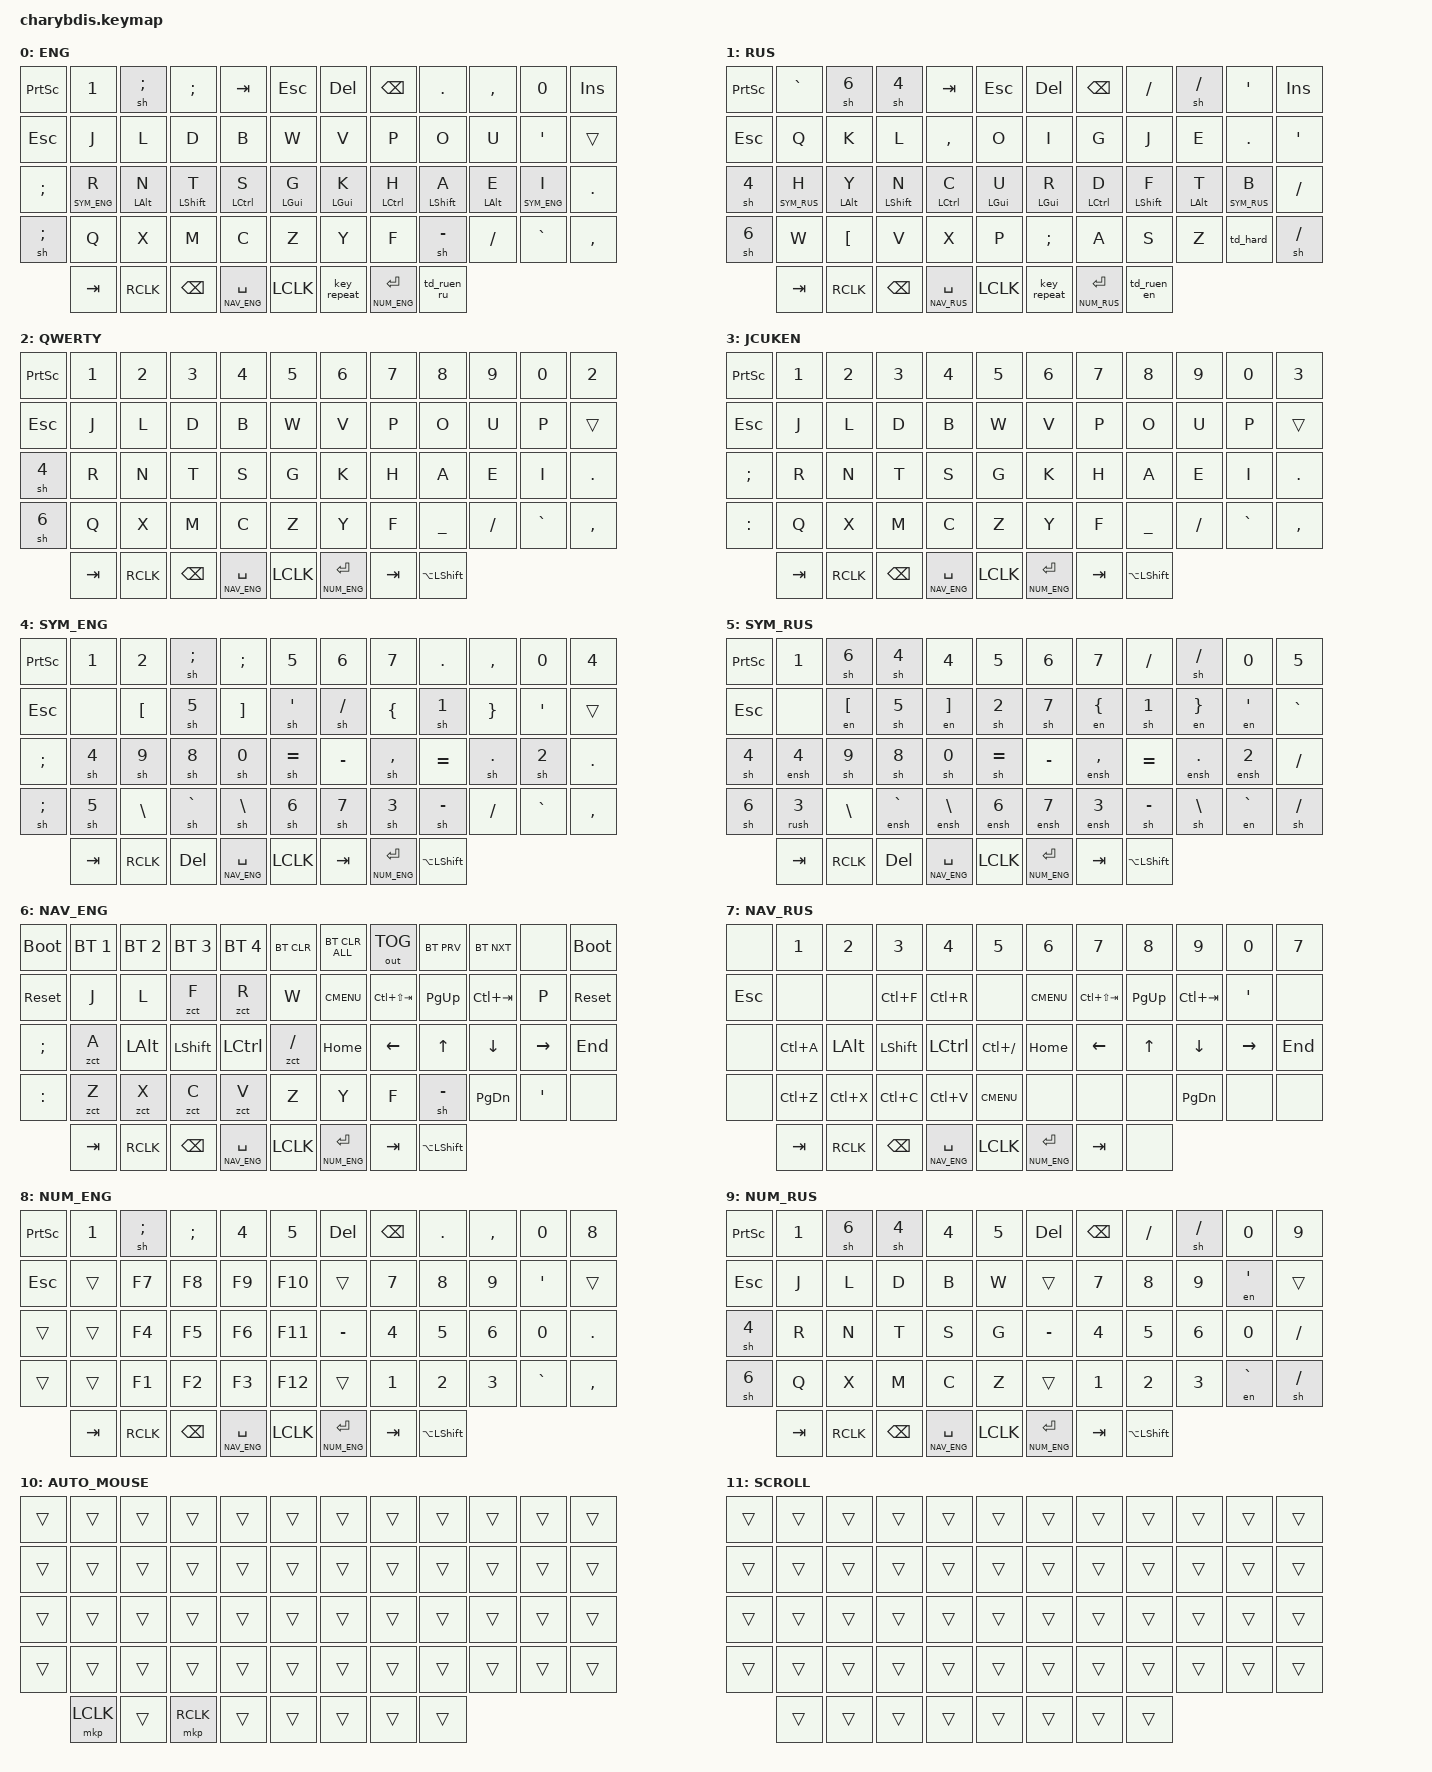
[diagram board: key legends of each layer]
#include <behaviors/mouse_keys123.dtsi>
#include <behaviors.dtsi>
#include <dt-bindings/zmk/bt.h>
#include <dt-bindings/zmk/keys.h>
#include <dt-bindings/zmk/mouse.h>
#include <dt-bindings/zmk/outputs.h>

#define U_TAPPING_TERM 200
#define ENG        0
#define RUS        1
#define QWERTY     2
#define JCUKEN     3
#define SYM_ENG    4
#define SYM_RUS    5
#define NAV_ENG    6
#define NAV_RUS    7
#define NUM_ENG    8
#define NUM_RUS    9
#define AUTO_MOUSE 10
#define SCROLL     11

/ {
    chosen { zmk,matrix_transform = &default_transform; };
};

/ {
    macros {
        ruen_en: ruen_en {
            compatible = "zmk,behavior-macro";
            #binding-cells = <0>;
            bindings
                = <&to 0 &kp LA(LSHFT)>
                ;
        };
        ruen_ru: ruen_ru {
            compatible = "zmk,behavior-macro";
            #binding-cells = <0>;
            bindings
                = <&to 1 &kp LA(LSHFT)>
                ;
        };
        ruen: ruen {
            compatible = "zmk,behavior-macro";
            #binding-cells = <0>;
            bindings
                = <&kp LA(LSHFT)>
                ;
        };
        en: en {
            wait-ms = <20>;
            compatible = "zmk,behavior-macro-one-param";
            #binding-cells = <1>;
            bindings = <&macro_tap &kp LA(LSHFT)>, <&macro_param_1to1>, <&macro_tap &kp MACRO_PLACEHOLDER>, <&macro_tap &kp LA(LSHFT)>;
        };
        sh: sh {
            wait-ms = <20>;
            compatible = "zmk,behavior-macro-one-param";
            #binding-cells = <1>;
            bindings = <&macro_press &kp LSHFT>, <&macro_param_1to1>, <&macro_tap &kp MACRO_PLACEHOLDER>, <&macro_release &kp LSHFT>;
        };
        zct: zct {
            wait-ms = <100>;
            compatible = "zmk,behavior-macro-one-param";
            #binding-cells = <1>;
            bindings = <&macro_press &kp LCTRL>, <&macro_param_1to1>, <&macro_tap &kp MACRO_PLACEHOLDER>, <&macro_release &kp LCTRL>;
        };
        ensh: ensh {
            wait-ms = <20>;
            compatible = "zmk,behavior-macro-one-param";
            #binding-cells = <1>;
            bindings = <&macro_tap &kp LA(LSHFT)>, <&macro_press &kp LSHFT>, <&macro_param_1to1>, <&macro_tap &kp MACRO_PLACEHOLDER>, <&macro_release &kp LSHFT>, <&macro_tap &kp LA(LSHFT)>;
        };
        rush: rush {
            wait-ms = <20>;
            compatible = "zmk,behavior-macro-one-param";
            #binding-cells = <1>;
            bindings = <&macro_tap &kp LA(LSHFT)>, <&macro_press &kp LSHFT>, <&macro_param_1to1>, <&macro_tap &kp MACRO_PLACEHOLDER>, <&macro_release &kp LSHFT>, <&macro_tap &kp LA(LSHFT)>;
        };
    };
};

/ {
    combos {
        compatible = "zmk,combos";

        combo_bootloader_left {
            bindings = <&bootloader>;
            key-positions = <0 1>;
        };

        combo_bootloader_right {
            bindings = <&bootloader>;
            key-positions = <10 11>;
        };

        combo_delete {
            bindings = <&kp DELETE>;
            key-positions = <38 39>;
        };

        combo_backspace {
            bindings = <&kp BSPC>;
            key-positions = <44 45>;
        };

        LeftClickRight {
            bindings = <&mkp LCLK>;
            key-positions = <19 20>;
        };

        RightClickRight {
            bindings = <&mkp RCLK>;
            key-positions = <20 21>;
        };

        MiddleClickRight {
            bindings = <&mkp MCLK>;
            key-positions = <21 22>;
        };

        ParaLeft {
            bindings = <&kp LEFT_PARENTHESIS>;
            key-positions = <4 16>;
        };

        ParaRight {
            bindings = <&kp RIGHT_PARENTHESIS>;
            key-positions = <7 19>;
        };

        BrakLeft {
            bindings = <&kp LEFT_BRACKET>;
            key-positions = <3 15>;
        };

        BrakRight {
            bindings = <&kp RIGHT_BRACKET>;
            key-positions = <8 20>;
        };

        BraceLeft {
            bindings = <&kp LEFT_BRACE>;
            key-positions = <2 14>;
        };

        BraceRight {
            bindings = <&kp RIGHT_BRACE>;
            key-positions = <9 21>;
        };

        Delete {
            bindings = <&kp DELETE>;
            key-positions = <8 9>;
        };

        CapsWord {
            bindings = <&caps_word>;
            key-positions = <17 18>;
        };
    };

    behaviors {
        hrm: homerow_mods {
            compatible = "zmk,behavior-hold-tap";
            #binding-cells = <2>;
            tapping-term-ms = <150>;
            quick-tap-ms = <0>;
            flavor = "tap-preferred";
            bindings = <&kp>, <&kp>;
        };
        u_mt: u_mt {
            compatible = "zmk,behavior-hold-tap";
            label = "u_mt";
            #binding-cells = <2>;
            tapping_term_ms = <U_TAPPING_TERM>;
            flavor = "tap-preferred";
            bindings = <&kp>, <&kp>;
        };

        u_lt: u_lt {
            compatible = "zmk,behavior-hold-tap";
            label = "u_lt";
            #binding-cells = <2>;
            tapping_term_ms = <U_TAPPING_TERM>;
            flavor = "tap-preferred";
            bindings = <&mo>, <&kp>;
        };

        Shift_Enter: Shift_Enter {
            compatible = "zmk,behavior-hold-tap";
            label = "SHIFT_ENTER";
            bindings = <&kp>, <&kp>;

            #binding-cells = <2>;
            hold-trigger-key-positions = <40>;
            tapping-term-ms = <100>;
        };
        td_ruen_ru: tap_dance_ruen_ru {
            compatible = "zmk,behavior-tap-dance";
            #binding-cells = <0>;
            tapping-term-ms = <200>;
            bindings = <&ruen_ru>, <&ruen>;
        };
        td_ruen_en: tap_dance_ruen_en {
            compatible = "zmk,behavior-tap-dance";
            #binding-cells = <0>;
            tapping-term-ms = <200>;
            bindings = <&ruen_en>, <&ruen>;
        };
        td_hard: tap_dance_hard_sign {
            compatible = "zmk,behavior-tap-dance";
            #binding-cells = <0>;
            tapping-term-ms = <200>;
            bindings = <&kp M>, <&kp RBKT>;
        };
    };

    keymap {
        compatible = "zmk,keymap";

        ENG {
            bindings = <
                &kp PSCRN  &kp N1         &sh SEMI     &kp SEMI      &kp TAB             &kp ESC          &kp DELETE         &kp BSPC            &kp DOT        &kp COMMA  &kp N0        &kp INS
                &kp ESC    &kp J          &kp L        &kp D         &kp B               &kp W            &kp V              &kp P               &kp O          &kp U      &kp APOS      &trans
                &kp SEMI   &lt SYM_ENG R  &mt LALT N   &u_mt LSHIFT T  &mt LCTRL S       &mt LGUI G       &mt LGUI K         &mt LCTRL H         &mt LSHIFT A   &mt LALT E &lt SYM_ENG I &kp DOT
                &sh SEMI   &kp Q          &kp X        &kp M         &kp C               &kp Z            &kp Y              &kp F               &sh MINUS      &kp FSLH   &kp GRAVE     &kp COMMA
                           &kp TAB        &kp RCLK     &kp BSPC      &u_lt NAV_ENG SPACE &kp LCLK         &key_repeat        &lt NUM_ENG ENTER   &td_ruen_ru
            >;
        };

        RUS {
            bindings = <
                &kp PSCRN  &kp GRAVE     &sh N6       &sh N4         &kp TAB             &kp ESC          &kp DELETE         &kp BSPC           &kp FSLH       &sh FSLH    &kp APOS       &kp INS
                &kp ESC    &kp Q         &kp K        &kp L          &kp COMMA           &kp O            &kp I              &kp G              &kp J          &kp E       &kp DOT        &kp APOS
                &sh N4     &lt SYM_RUS H &mt LALT Y   &u_mt LSHIFT N   &mt LCTRL C         &hrm LGUI U      &mt LGUI R         &mt LCTRL D        &mt LSHIFT F   &mt LALT T  &lt SYM_RUS B  &kp FSLH
                &sh N6     &kp W         &kp LBKT     &kp V          &kp X               &kp P            &kp SEMI           &kp A              &kp S          &kp Z       &td_hard       &sh FSLH
                           &kp TAB       &kp RCLK     &kp BSPC       &u_lt NAV_RUS SPACE &kp LCLK         &key_repeat        &lt NUM_RUS ENTER  &td_ruen_en
            >;
        };

        QWERTY {
            bindings = <
                &kp PSCRN  &kp N1        &kp N2       &kp N3        &kp N4             &kp N5           &kp N6             &kp N7             &kp N8         &kp N9      &kp N0         &kp N2
                &kp ESC    &kp J         &kp L        &kp D         &kp B              &kp W            &kp V              &kp P              &kp O          &kp U       &kp P          &trans
                &sh N4     &kp R         &kp N        &kp T         &kp S              &kp G            &kp K              &kp H              &kp A          &kp E       &kp I          &kp DOT
                &sh N6     &kp Q         &kp X        &kp M         &kp C              &kp Z            &kp Y              &kp F              &kp UNDER      &kp FSLH    &kp GRAVE      &kp COMMA
                           &kp TAB       &kp RCLK     &kp BSPC      &lt NAV_ENG SPACE  &kp LCLK         &lt NUM_ENG ENTER  &kp TAB            &kp LA(LSHIFT)
            >;
        };

        JCUKEN {
            bindings = <
                &kp PSCRN  &kp N1        &kp N2       &kp N3        &kp N4             &kp N5           &kp N6             &kp N7             &kp N8         &kp N9      &kp N0         &kp N3
                &kp ESC    &kp J         &kp L        &kp D         &kp B              &kp W            &kp V              &kp P              &kp O          &kp U       &kp P          &trans
                &kp SEMI   &kp R         &kp N        &kp T         &kp S              &kp G            &kp K              &kp H              &kp A          &kp E       &kp I          &kp DOT
                &kp COLON  &kp Q         &kp X        &kp M         &kp C              &kp Z            &kp Y              &kp F              &kp UNDER      &kp FSLH    &kp GRAVE      &kp COMMA
                           &kp TAB       &kp RCLK     &kp BSPC      &lt NAV_ENG SPACE  &kp LCLK         &lt NUM_ENG ENTER  &kp TAB            &kp LA(LSHIFT)
            >;
        };

        SYM_ENG {
            bindings = <
                &kp PSCRN  &kp N1        &kp N2       &sh SEMI      &kp SEMI           &kp N5           &kp N6             &kp N7             &kp DOT        &kp COMMA   &kp N0         &kp N4
                &kp ESC    &none         &kp LBKT     &sh N5        &kp RBKT           &sh APOS         &sh FSLH           &kp LBRC           &sh N1         &kp RBRC    &kp APOS       &trans
                &kp SEMI   &sh N4        &sh N9       &sh N8        &sh N0             &sh EQUAL        &kp MINUS          &sh COMMA          &kp EQUAL      &sh DOT     &sh N2         &kp DOT
                &sh SEMI   &sh N5        &kp BSLH     &sh GRAVE     &sh BSLH           &sh N6           &sh N7             &sh N3             &sh MINUS      &kp FSLH    &kp GRAVE      &kp COMMA
                           &kp TAB       &kp RCLK     &kp DEL       &lt NAV_ENG SPACE  &kp LCLK         &kp TAB            &lt NUM_ENG ENTER  &kp LA(LSHIFT)
            >;
        };

        SYM_RUS {
            bindings = <
                &kp PSCRN  &kp N1        &sh N6       &sh N4        &kp N4             &kp N5           &kp N6             &kp N7             &kp FSLH        &sh FSLH    &kp N0        &kp N5
                &kp ESC    &none         &en LBKT     &sh N5        &en RBKT           &sh N2           &sh N7             &en LBRC           &sh N1          &en RBRC    &en APOS      &kp GRAVE
                &sh N4     &ensh N4      &sh N9       &sh N8        &sh N0             &sh EQUAL        &kp MINUS          &ensh COMMA        &kp EQUAL       &ensh DOT   &ensh N2      &kp FSLH
                &sh N6     &rush N3      &kp BSLH     &ensh GRAVE   &ensh BSLH         &ensh N6         &ensh N7           &ensh N3           &sh MINUS       &sh BSLH    &en GRAVE     &sh FSLH
                           &kp TAB       &kp RCLK     &kp DEL       &lt NAV_ENG SPACE  &kp LCLK         &lt NUM_ENG ENTER  &kp TAB            &kp LA(LSHIFT)
            >;
        };

        NAV_ENG {
            bindings = <
                &bootloader &bt BT_SEL 1 &bt BT_SEL 2 &bt BT_SEL 3  &bt BT_SEL 4       &bt BT_CLR       &bt BT_CLR_ALL     &out OUT_TOG       &bt BT_PRV      &bt BT_NXT  &none         &bootloader
                &sys_reset  &kp J        &kp L        &zct F        &zct R             &kp W            &kp K_CMENU        &kp LC(LS(TAB))    &kp PG_UP       &kp LC(TAB) &kp P         &sys_reset
                &kp SEMI    &zct A       &kp LALT     &kp LSHIFT    &kp LCTRL          &zct FSLH        &kp HOME           &kp LEFT           &kp UP          &kp DOWN    &kp RIGHT     &kp END
                &kp COLON   &zct Z       &zct X       &zct C        &zct V             &kp Z            &kp Y              &kp F              &sh MINUS       &kp PG_DN   &kp APOS      &none
                            &kp TAB      &kp RCLK     &kp BACKSPACE &lt NAV_ENG SPACE  &kp LCLK         &lt NUM_ENG ENTER  &kp TAB            &kp LA(LSHIFT)
            >;
        };

        NAV_RUS {
            bindings = <
                &none      &kp N1        &kp N2       &kp N3        &kp N4             &kp N5           &kp N6             &kp N7             &kp N8         &kp N9       &kp N0        &kp N7
                &kp ESC    &none         &none        &kp LC(F)     &kp LC(R)          &none            &kp K_CMENU        &kp LC(LS(TAB))    &kp PG_UP      &kp LC(TAB)  &kp APOS      &none
                &none      &kp LC(A)     &kp LALT     &kp LSHIFT    &kp LCTRL          &kp LC(FSLH)     &kp HOME           &kp LEFT           &kp UP         &kp DOWN     &kp RIGHT     &kp END
                &none      &kp LC(Z)     &kp LC(X)    &kp LC(C)     &kp LC(V)          &kp K_CMENU      &none              &none              &none          &kp PG_DN    &none         &none
                           &kp TAB       &kp RCLK     &kp BACKSPACE &lt NAV_ENG SPACE  &kp LCLK         &lt NUM_ENG ENTER  &kp TAB            &none
            >;
        };

        NUM_ENG {
            bindings = <
                &kp PSCRN  &kp N1        &sh SEMI     &kp SEMI      &kp N4             &kp N5           &kp DELETE         &kp BSPC           &kp DOT        &kp COMMA    &kp N0        &kp N8
                &kp ESC    &trans        &kp F7       &kp F8        &kp F9             &kp F10          &trans             &kp N7             &kp N8         &kp N9       &kp APOS      &trans
                &trans     &trans        &kp F4       &kp F5        &kp F6             &kp F11          &kp MINUS          &kp N4             &kp N5         &kp N6       &kp N0        &kp DOT
                &trans     &trans        &kp F1       &kp F2        &kp F3             &kp F12          &trans             &kp N1             &kp N2         &kp N3       &kp GRAVE     &kp COMMA
                           &kp TAB       &kp RCLK     &kp BACKSPACE &lt NAV_ENG SPACE  &kp LCLK         &lt NUM_ENG ENTER  &kp TAB            &kp LA(LSHIFT)
            >;
        };

        NUM_RUS {
            bindings = <
                &kp PSCRN  &kp N1        &sh N6       &sh N4        &kp N4             &kp N5           &kp DELETE         &kp BSPC           &kp FSLH       &sh FSLH     &kp N0        &kp N9
                &kp ESC    &kp J         &kp L        &kp D         &kp B              &kp W            &trans             &kp N7             &kp N8         &kp N9       &en APOS      &trans
                &sh N4     &kp R         &kp N        &kp T         &kp S              &kp G            &kp MINUS          &kp N4             &kp N5         &kp N6       &kp N0        &kp FSLH
                &sh N6     &kp Q         &kp X        &kp M         &kp C              &kp Z            &trans             &kp N1             &kp N2         &kp N3       &en GRAVE     &sh FSLH
                           &kp TAB       &kp RCLK     &kp BACKSPACE &lt NAV_ENG SPACE  &kp LCLK         &lt NUM_ENG ENTER  &kp TAB            &kp LA(LSHIFT)
            >;
        };

        AUTO_MOUSE {
            bindings = <
&trans  &trans  &trans  &trans     &trans  &trans       &trans  &trans  &trans  &trans  &trans  &trans
&trans  &trans  &trans  &trans     &trans  &trans       &trans  &trans  &trans  &trans  &trans  &trans
&trans  &trans  &trans  &trans     &trans  &trans       &trans  &trans  &trans  &trans  &trans  &trans
&trans  &trans  &trans  &trans     &trans  &trans       &trans  &trans  &trans  &trans  &trans  &trans
                        &mkp LCLK  &trans  &mkp RCLK    &trans  &trans  &trans  &trans  &trans
            >;
        };

        SCROLL {
            bindings = <
&trans  &trans  &trans  &trans  &trans  &trans    &trans  &trans  &trans  &trans  &trans  &trans
&trans  &trans  &trans  &trans  &trans  &trans    &trans  &trans  &trans  &trans  &trans  &trans
&trans  &trans  &trans  &trans  &trans  &trans    &trans  &trans  &trans  &trans  &trans  &trans
&trans  &trans  &trans  &trans  &trans  &trans    &trans  &trans  &trans  &trans  &trans  &trans
                        &trans  &trans  &trans    &trans  &trans &trans  &trans &trans
            >;
        };


    };
};
